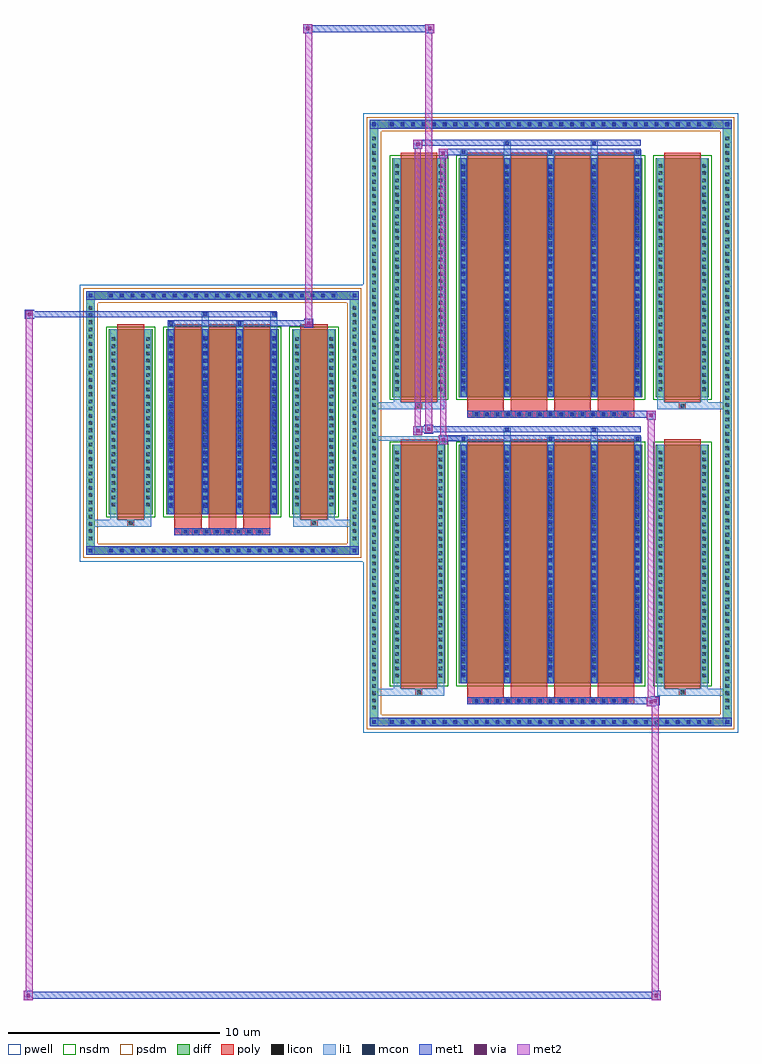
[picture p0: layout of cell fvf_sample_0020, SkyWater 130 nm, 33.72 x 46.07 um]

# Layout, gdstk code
import gdstk
lib = gdstk.Library(unit=1e-6, precision=1e-09)
def R(c, l, rs):  # rectangles x0, y0, x1, y1
    for r in rs: c.add(gdstk.rectangle(r[:2], r[2:], *l))
def A(c, l, x, y, w, h, nx, ny, dx, dy):  # array of equal rectangles
    R(c, l, [(x+i*dx, y+j*dy, x+i*dx+w, y+j*dy+h) for i in range(nx) for j in range(ny)])
def P(c, l, *ps):  # polygons
    for p in ps: c.add(gdstk.Polygon(p, *l))
pwell = (64, 44)
diff = (65, 20)
poly = (66, 20)
licon = (66, 44)
li1 = (67, 20)
mcon = (67, 44)
met1 = (68, 20)
via = (68, 44)
met2 = (69, 20)
nsdm = (93, 44)
psdm = (94, 20)

fvf_sample_0020 = lib.new_cell('fvf_sample_0020')
R(fvf_sample_0020, pwell, [(6.641,-14.621,24.343,14.621), (-6.741,-6.536,6.741,6.536)])
A(fvf_sample_0020, diff, 7.787, -14.311, 0.41, 0.41, 31, 2, 0.5, 28.212)
A(fvf_sample_0020, diff, 6.951, -13.635, 0.41, 0.41, 1, 80, 0, 0.34)
A(fvf_sample_0020, diff, 23.623, -13.635, 0.41, 0.41, 1, 80, 0, 0.34)
A(fvf_sample_0020, diff, -5.455, -6.226, 0.41, 0.41, 22, 2, 0.5, 12.042)
A(fvf_sample_0020, diff, -6.431, -5.645, 0.41, 0.41, 1, 33, 0, 0.34)
A(fvf_sample_0020, diff, 6.021, -5.645, 0.41, 0.41, 1, 33, 0, 0.34)
R(fvf_sample_0020, diff, [(7.787,-14.311,23.197,-13.901), (6.951,-13.635,7.361,13.635), (23.623,-13.635,24.033,13.635), (8.021,-12.29,10.523,-1.014), (11.163,-12.29,19.821,-1.014), (20.461,-12.29,22.963,-1.014), (-5.455,-6.226,5.455,-5.816), (-6.431,-5.645,-6.021,5.645), (6.021,-5.645,6.431,5.645), (-5.36,-4.305,-3.292,4.421), (-2.652,-4.305,2.652,4.421), (3.292,-4.305,5.36,4.421), (8.021,1.23,10.523,12.506), (11.163,1.23,19.821,12.506), (20.461,1.23,22.963,12.506), (-5.455,5.816,5.455,6.226), (7.787,13.901,23.197,14.311)])
P(fvf_sample_0020, diff, [(6.431,6.226),(-6.431,6.226),(-6.431,-5.816),(-6.021,-5.816),(-6.021,5.816),(6.021,5.816),(6.021,-5.816),(-6.021,-5.816),(-6.431,-5.816),(-6.431,-6.226),(6.431,-6.226)],
  [(24.033,14.311),(6.951,14.311),(6.951,-13.901),(7.361,-13.901),(7.361,13.901),(23.623,13.901),(23.623,-13.901),(7.361,-13.901),(6.951,-13.901),(6.951,-14.311),(24.033,-14.311)])
A(fvf_sample_0020, poly, 11.827, -13.27, 0.33, 0.33, 15, 2, 0.5, 13.52)
A(fvf_sample_0020, poly, 11.553, -12.94, 1.722, 0.4, 4, 2, 2.052, 13.52)
A(fvf_sample_0020, poly, 11.553, -12.54, 1.722, 11.776, 4, 2, 2.052, 13.52)
A(fvf_sample_0020, poly, -1.915, -5.286, 0.33, 0.33, 8, 1, 0.5, 0)
A(fvf_sample_0020, poly, -2.262, -4.956, 1.288, 0.401, 3, 1, 1.618, 0)
A(fvf_sample_0020, poly, -2.262, -4.555, 1.288, 9.226, 3, 1, 1.618, 0)
R(fvf_sample_0020, poly, [(11.553,-13.27,19.431,-12.94), (9.107,-12.87,9.437,-12.54), (9.107,-12.87,9.437,-12.54), (21.547,-12.87,21.877,-12.54), (21.547,-12.87,21.877,-12.54), (8.411,-12.54,10.133,-0.764), (20.851,-12.54,22.573,-0.764), (-2.262,-5.286,2.262,-4.956), (-4.491,-4.885,-4.161,-4.555), (-4.491,-4.885,-4.161,-4.555), (4.161,-4.885,4.491,-4.555), (4.161,-4.885,4.491,-4.555), (-4.97,-4.555,-3.682,4.671), (3.682,-4.555,4.97,4.671), (11.553,0.25,19.431,0.58), (9.107,0.65,9.437,0.98), (9.107,0.65,9.437,0.98), (21.547,0.65,21.877,0.98), (21.547,0.65,21.877,0.98), (8.411,0.98,10.133,12.756), (20.851,0.98,22.573,12.756)])
A(fvf_sample_0020, licon, 7.907, -14.191, 0.17, 0.17, 31, 2, 0.5, 28.212)
A(fvf_sample_0020, licon, 7.071, -13.515, 0.17, 0.17, 1, 80, 0, 0.34)
A(fvf_sample_0020, licon, 23.743, -13.515, 0.17, 0.17, 1, 80, 0, 0.34)
A(fvf_sample_0020, licon, 11.907, -13.19, 0.17, 0.17, 15, 2, 0.5, 13.52)
A(fvf_sample_0020, licon, 8.161, -12.007, 0.17, 0.17, 1, 32, 0, 0.34)
A(fvf_sample_0020, licon, 10.213, -12.007, 0.17, 0.17, 1, 32, 0, 0.34)
A(fvf_sample_0020, licon, 11.303, -12.007, 0.17, 0.17, 5, 32, 2.052, 0.34)
A(fvf_sample_0020, licon, 20.601, -12.007, 0.17, 0.17, 1, 32, 0, 0.34)
A(fvf_sample_0020, licon, 22.653, -12.007, 0.17, 0.17, 1, 32, 0, 0.34)
A(fvf_sample_0020, licon, -5.335, -6.106, 0.17, 0.17, 22, 2, 0.5, 12.042)
A(fvf_sample_0020, licon, -6.311, -5.525, 0.17, 0.17, 1, 33, 0, 0.34)
A(fvf_sample_0020, licon, 6.141, -5.525, 0.17, 0.17, 1, 33, 0, 0.34)
A(fvf_sample_0020, licon, -1.835, -5.206, 0.17, 0.17, 8, 1, 0.5, 0)
A(fvf_sample_0020, licon, -5.22, -3.937, 0.17, 0.17, 1, 24, 0, 0.34)
A(fvf_sample_0020, licon, -3.602, -3.937, 0.17, 0.17, 1, 24, 0, 0.34)
A(fvf_sample_0020, licon, -2.512, -3.937, 0.17, 0.17, 4, 24, 1.618, 0.34)
A(fvf_sample_0020, licon, 3.432, -3.937, 0.17, 0.17, 1, 24, 0, 0.34)
A(fvf_sample_0020, licon, 5.05, -3.937, 0.17, 0.17, 1, 24, 0, 0.34)
A(fvf_sample_0020, licon, 8.161, 1.513, 0.17, 0.17, 1, 32, 0, 0.34)
A(fvf_sample_0020, licon, 10.213, 1.513, 0.17, 0.17, 1, 32, 0, 0.34)
A(fvf_sample_0020, licon, 11.303, 1.513, 0.17, 0.17, 5, 32, 2.052, 0.34)
A(fvf_sample_0020, licon, 20.601, 1.513, 0.17, 0.17, 1, 32, 0, 0.34)
A(fvf_sample_0020, licon, 22.653, 1.513, 0.17, 0.17, 1, 32, 0, 0.34)
R(fvf_sample_0020, licon, [(9.187,-12.79,9.357,-12.62), (21.627,-12.79,21.797,-12.62), (-4.411,-4.805,-4.241,-4.635), (4.241,-4.805,4.411,-4.635), (9.187,0.73,9.357,0.9), (21.627,0.73,21.797,0.9)])
A(fvf_sample_0020, li1, 7.827, -14.271, 0.33, 0.33, 31, 2, 0.5, 28.212)
A(fvf_sample_0020, li1, 6.991, -13.595, 0.33, 0.33, 1, 80, 0, 0.34)
A(fvf_sample_0020, li1, 23.663, -13.595, 0.33, 0.33, 1, 80, 0, 0.34)
A(fvf_sample_0020, li1, 11.827, -13.27, 0.33, 0.33, 15, 2, 0.5, 13.52)
A(fvf_sample_0020, li1, 11.223, -12.29, 0.33, 11.276, 5, 2, 2.052, 13.52)
A(fvf_sample_0020, li1, 8.081, -12.087, 0.33, 0.33, 1, 32, 0, 0.34)
A(fvf_sample_0020, li1, 10.133, -12.087, 0.33, 0.33, 1, 32, 0, 0.34)
A(fvf_sample_0020, li1, 11.223, -12.087, 0.33, 0.33, 5, 32, 2.052, 0.34)
A(fvf_sample_0020, li1, 20.521, -12.087, 0.33, 0.33, 1, 32, 0, 0.34)
A(fvf_sample_0020, li1, 22.573, -12.087, 0.33, 0.33, 1, 32, 0, 0.34)
A(fvf_sample_0020, li1, 11.303, -11.957, 0.17, 0.17, 5, 30, 2.052, 0.36)
A(fvf_sample_0020, li1, 11.303, -11.957, 0.17, 10.61, 5, 2, 2.052, 13.52)
A(fvf_sample_0020, li1, -5.415, -6.186, 0.33, 0.33, 22, 2, 0.5, 12.042)
A(fvf_sample_0020, li1, -6.391, -5.605, 0.33, 0.33, 1, 33, 0, 0.34)
A(fvf_sample_0020, li1, 6.061, -5.605, 0.33, 0.33, 1, 33, 0, 0.34)
A(fvf_sample_0020, li1, -1.915, -5.286, 0.33, 0.33, 8, 1, 0.5, 0)
A(fvf_sample_0020, li1, -2.592, -4.305, 0.33, 8.726, 4, 1, 1.618, 0)
A(fvf_sample_0020, li1, -5.3, -4.017, 0.33, 0.33, 1, 24, 0, 0.34)
A(fvf_sample_0020, li1, -3.682, -4.017, 0.33, 0.33, 1, 24, 0, 0.34)
A(fvf_sample_0020, li1, -2.592, -4.017, 0.33, 0.33, 4, 24, 1.618, 0.34)
A(fvf_sample_0020, li1, 3.352, -4.017, 0.33, 0.33, 1, 24, 0, 0.34)
A(fvf_sample_0020, li1, 4.97, -4.017, 0.33, 0.33, 1, 24, 0, 0.34)
A(fvf_sample_0020, li1, -2.512, -3.987, 0.17, 0.17, 4, 23, 1.618, 0.36)
A(fvf_sample_0020, li1, -2.512, -3.987, 0.17, 8.09, 4, 1, 1.618, 0)
A(fvf_sample_0020, li1, 11.223, -1.014, 0.33, 0.375, 3, 2, 4.104, 13.52)
A(fvf_sample_0020, li1, 11.303, -0.809, 0.17, 0.17, 3, 2, 4.104, 13.52)
A(fvf_sample_0020, li1, 8.081, 1.433, 0.33, 0.33, 1, 32, 0, 0.34)
A(fvf_sample_0020, li1, 10.133, 1.433, 0.33, 0.33, 1, 32, 0, 0.34)
A(fvf_sample_0020, li1, 11.223, 1.433, 0.33, 0.33, 5, 32, 2.052, 0.34)
A(fvf_sample_0020, li1, 20.521, 1.433, 0.33, 0.33, 1, 32, 0, 0.34)
A(fvf_sample_0020, li1, 22.573, 1.433, 0.33, 0.33, 1, 32, 0, 0.34)
A(fvf_sample_0020, li1, 11.303, 1.563, 0.17, 0.17, 5, 30, 2.052, 0.36)
R(fvf_sample_0020, li1, [(6.951,-14.311,7.361,-13.901), (23.623,-14.311,24.033,-13.901), (7.827,-14.271,23.157,-13.941), (7.071,-14.191,7.241,-14.021), (7.071,-14.191,7.241,-14.021), (23.743,-14.191,23.913,-14.021), (23.743,-14.191,23.913,-14.021), (6.951,-13.901,7.361,13.901), (23.623,-13.901,24.033,13.901), (6.951,-12.87,9.107,-12.54), (8.081,-12.87,8.411,-12.29), (8.081,-12.87,9.107,-12.54), (9.107,-12.87,9.437,-12.54), (9.437,-12.87,10.463,-12.54), (10.133,-12.87,10.463,-12.29), (20.521,-12.87,20.851,-12.29), (20.521,-12.87,21.547,-12.54), (21.547,-12.87,21.877,-12.54), (21.547,-12.87,24.033,-12.54), (21.877,-12.87,22.903,-12.54), (22.573,-12.87,22.903,-12.29), (8.081,-12.29,8.411,-1.014), (10.133,-12.29,10.463,-1.014), (20.521,-12.29,20.851,-1.014), (22.573,-12.29,22.903,-1.014), (-6.431,-6.226,-6.021,-5.816), (6.021,-6.226,6.431,-5.816), (-5.415,-6.186,5.415,-5.856), (-6.311,-6.106,-6.141,-5.936), (-6.311,-6.106,-6.141,-5.936), (6.141,-6.106,6.311,-5.936), (6.141,-6.106,6.311,-5.936), (-6.431,-5.816,-6.021,5.816), (6.021,-5.816,6.431,5.816), (-6.431,-4.885,-4.491,-4.555), (-5.3,-4.885,-4.491,-4.555), (-5.3,-4.885,-4.97,-4.305), (-4.491,-4.885,-4.161,-4.555), (-4.161,-4.885,-3.352,-4.555), (-3.682,-4.885,-3.352,-4.305), (3.352,-4.885,4.161,-4.555), (3.352,-4.885,3.682,-4.305), (4.161,-4.885,4.491,-4.555), (4.161,-4.885,6.431,-4.555), (4.491,-4.885,5.3,-4.555), (4.97,-4.885,5.3,-4.305), (-5.3,-4.305,-4.97,4.421), (-3.682,-4.305,-3.352,4.421), (3.352,-4.305,3.682,4.421), (4.97,-4.305,5.3,4.421), (13.275,-1.014,13.605,-0.209), (17.379,-1.014,17.709,-0.209), (11.243,-0.869,11.533,-0.579), (6.951,-0.824,11.243,-0.624), (11.303,-0.809,11.473,-0.639), (13.355,-0.379,13.525,-0.209), (17.459,-0.379,17.629,-0.209), (6.951,0.65,9.107,0.98), (8.081,0.65,8.411,1.23), (8.081,0.65,9.107,0.98), (9.107,0.65,9.437,0.98), (9.437,0.65,10.463,0.98), (10.133,0.65,10.463,1.23), (20.521,0.65,20.851,1.23), (20.521,0.65,21.547,0.98), (21.547,0.65,21.877,0.98), (21.547,0.65,24.033,0.98), (21.877,0.65,22.903,0.98), (22.573,0.65,22.903,1.23), (8.081,1.23,8.411,12.506), (10.133,1.23,10.463,12.506), (20.521,1.23,20.851,12.506), (22.573,1.23,22.903,12.506), (-2.592,4.421,-2.262,4.796), (-0.974,4.421,-0.644,5.226), (0.644,4.421,0.974,4.796), (2.262,4.421,2.592,5.226), (-2.512,4.626,-2.342,4.796), (0.724,4.626,0.894,4.796), (-0.894,5.056,-0.724,5.226), (2.342,5.056,2.512,5.226), (-6.431,5.816,-6.021,6.226), (6.021,5.816,6.431,6.226), (-5.415,5.856,5.415,6.186), (-6.311,5.936,-6.141,6.106), (-6.311,5.936,-6.141,6.106), (6.141,5.936,6.311,6.106), (6.141,5.936,6.311,6.106), (13.275,12.506,13.605,13.311), (17.379,12.506,17.709,13.311), (13.355,13.141,13.525,13.311), (17.459,13.141,17.629,13.311), (6.951,13.901,7.361,14.311), (23.623,13.901,24.033,14.311), (7.827,13.941,23.157,14.271), (7.071,14.021,7.241,14.191), (7.071,14.021,7.241,14.191), (23.743,14.021,23.913,14.191), (23.743,14.021,23.913,14.191)])
A(fvf_sample_0020, mcon, 7.907, -14.191, 0.17, 0.17, 31, 2, 0.5, 28.212)
A(fvf_sample_0020, mcon, 11.907, -13.19, 0.17, 0.17, 15, 2, 0.5, 13.52)
A(fvf_sample_0020, mcon, 11.303, -11.957, 0.17, 0.17, 5, 30, 2.052, 0.36)
A(fvf_sample_0020, mcon, -5.335, -6.106, 0.17, 0.17, 22, 2, 0.5, 12.042)
A(fvf_sample_0020, mcon, -1.835, -5.206, 0.17, 0.17, 8, 1, 0.5, 0)
A(fvf_sample_0020, mcon, -2.512, -3.987, 0.17, 0.17, 4, 23, 1.618, 0.36)
A(fvf_sample_0020, mcon, 11.303, -0.809, 0.17, 0.17, 3, 2, 4.104, 13.52)
A(fvf_sample_0020, mcon, 11.303, 1.563, 0.17, 0.17, 5, 30, 2.052, 0.36)
R(fvf_sample_0020, mcon, [(7.071,-14.191,7.241,-14.021), (23.743,-14.191,23.913,-14.021), (-6.311,-6.106,-6.141,-5.936), (6.141,-6.106,6.311,-5.936), (11.303,-0.809,11.473,-0.639), (13.355,-0.379,13.525,-0.209), (17.459,-0.379,17.629,-0.209), (-2.512,4.626,-2.342,4.796), (0.724,4.626,0.894,4.796), (-0.894,5.056,-0.724,5.226), (2.342,5.056,2.512,5.226), (-6.311,5.936,-6.141,6.106), (6.141,5.936,6.311,6.106), (13.355,13.141,13.525,13.311), (17.459,13.141,17.629,13.311), (7.071,14.021,7.241,14.191), (23.743,14.021,23.913,14.191)])
A(fvf_sample_0020, met1, 7.847, -14.251, 0.29, 0.29, 31, 2, 0.5, 28.212)
A(fvf_sample_0020, met1, 11.847, -13.25, 0.29, 0.29, 15, 2, 0.5, 13.52)
A(fvf_sample_0020, met1, 11.243, -12.29, 0.29, 11.276, 5, 2, 2.052, 13.52)
A(fvf_sample_0020, met1, 11.243, -12.017, 0.29, 0.29, 5, 30, 2.052, 0.36)
A(fvf_sample_0020, met1, -5.395, -6.166, 0.29, 0.29, 22, 2, 0.5, 12.042)
A(fvf_sample_0020, met1, -1.895, -5.266, 0.29, 0.29, 8, 1, 0.5, 0)
A(fvf_sample_0020, met1, -2.572, -4.305, 0.29, 8.726, 4, 1, 1.618, 0)
A(fvf_sample_0020, met1, -2.572, -4.047, 0.29, 0.29, 4, 23, 1.618, 0.36)
A(fvf_sample_0020, met1, 11.243, -0.869, 0.29, 0.29, 3, 2, 4.104, 13.52)
A(fvf_sample_0020, met1, 11.243, 1.503, 0.29, 0.29, 5, 30, 2.052, 0.36)
R(fvf_sample_0020, met1, [(-9.373,-27.231,-8.943,-26.801), (20.266,-27.231,20.696,-26.801), (-9.373,-27.181,20.696,-26.851), (-9.373,-26.851,-8.943,-26.801), (20.266,-26.851,20.696,-26.801), (6.951,-14.311,7.361,-13.901), (6.951,-14.311,7.361,-13.901), (7.361,-14.311,23.623,-13.901), (23.623,-14.311,24.033,-13.901), (23.623,-14.311,24.033,-13.901), (7.011,-14.251,7.301,-13.961), (23.683,-14.251,23.973,-13.961), (20.031,-13.37,20.461,-12.94), (20.216,-13.32,20.646,-12.89), (11.553,-13.27,19.431,-12.94), (19.431,-13.27,20.216,-12.94), (19.431,-13.27,20.461,-12.94), (-6.431,-6.226,-6.021,-5.816), (-6.431,-6.226,-6.021,-5.816), (-6.021,-6.226,6.021,-5.816), (6.021,-6.226,6.431,-5.816), (6.021,-6.226,6.431,-5.816), (-6.371,-6.166,-6.081,-5.876), (6.081,-6.166,6.371,-5.876), (-2.262,-5.286,2.262,-4.956), (10.213,-1.009,10.643,-0.579), (10.213,-0.869,11.243,-0.579), (11.243,-0.869,11.533,-0.579), (11.243,-0.869,19.741,-0.579), (9.013,-0.579,9.443,-0.149), (9.528,-0.509,9.958,-0.079), (9.013,-0.439,11.243,-0.149), (9.958,-0.439,11.243,-0.149), (11.243,-0.439,19.741,-0.149), (13.295,-0.439,13.585,-0.149), (17.399,-0.439,17.689,-0.149), (20.031,0.15,20.461,0.58), (11.553,0.25,19.431,0.58), (19.431,0.25,20.461,0.58), (3.857,4.496,4.287,4.926), (-2.572,4.566,-2.282,4.856), (-2.572,4.566,2.572,4.856), (0.664,4.566,0.954,4.856), (2.572,4.566,3.857,4.856), (-9.323,4.926,-8.893,5.356), (-8.893,4.996,-2.572,5.286), (-2.572,4.996,2.572,5.286), (-0.954,4.996,-0.664,5.286), (2.282,4.996,2.572,5.286), (-6.431,5.816,-6.021,6.226), (-6.431,5.816,-6.021,6.226), (-6.021,5.816,6.021,6.226), (6.021,5.816,6.431,6.226), (6.021,5.816,6.431,6.226), (-6.371,5.876,-6.081,6.166), (6.081,5.876,6.371,6.166), (10.213,12.511,10.643,12.941), (10.213,12.651,11.243,12.941), (11.243,12.651,19.741,12.941), (9.013,12.941,9.443,13.371), (9.013,13.081,11.243,13.371), (11.243,13.081,19.741,13.371), (13.295,13.081,13.585,13.371), (17.399,13.081,17.689,13.371), (6.951,13.901,7.361,14.311), (6.951,13.901,7.361,14.311), (7.361,13.901,23.623,14.311), (23.623,13.901,24.033,14.311), (23.623,13.901,24.033,14.311), (7.011,13.961,7.301,14.251), (23.683,13.961,23.973,14.251), (3.807,18.407,4.237,18.837), (9.578,18.407,10.008,18.837), (3.807,18.457,10.008,18.787), (3.807,18.787,4.237,18.837), (9.578,18.787,10.008,18.837)])
R(fvf_sample_0020, via, [(-9.233,-27.091,-9.083,-26.941), (20.406,-27.091,20.556,-26.941), (20.171,-13.23,20.321,-13.08), (20.356,-13.18,20.506,-13.03), (10.353,-0.869,10.503,-0.719), (9.153,-0.439,9.303,-0.289), (9.668,-0.369,9.818,-0.219), (20.171,0.29,20.321,0.44), (3.997,4.636,4.147,4.786), (-9.183,5.066,-9.033,5.216), (10.353,12.651,10.503,12.801), (9.153,13.081,9.303,13.231), (3.947,18.547,4.097,18.697), (9.718,18.547,9.868,18.697)])
R(fvf_sample_0020, met2, [(-9.373,-27.231,-8.943,-26.801), (-9.273,-27.231,-8.943,4.976), (20.266,-27.231,20.696,-26.801), (20.266,-27.231,20.596,-13.27), (-9.323,-27.181,-8.993,-26.851), (20.316,-27.181,20.646,-26.851), (20.031,-13.37,20.461,-12.94), (20.081,-13.37,20.411,0.58), (20.411,-13.37,20.461,-12.94), (20.081,-13.32,20.411,-12.99), (20.266,-13.27,20.596,-12.94), (10.213,-1.009,10.643,-0.579), (10.283,-1.009,10.573,12.941), (10.573,-1.009,10.643,-0.579), (10.263,-0.959,10.593,-0.629), (9.013,-0.579,9.443,-0.149), (9.083,-0.579,9.373,13.371), (9.373,-0.579,9.443,-0.149), (9.063,-0.529,9.393,-0.199), (9.578,-0.459,9.908,-0.129), (9.578,-0.129,9.908,18.837), (20.031,0.15,20.461,0.58), (20.411,0.15,20.461,0.58), (20.081,0.2,20.411,0.53), (3.907,4.546,4.237,4.876), (3.907,4.876,4.237,18.837), (-9.273,4.976,-8.943,5.306), (10.213,12.511,10.643,12.941), (10.573,12.511,10.643,12.941), (10.263,12.561,10.593,12.891), (9.013,12.941,9.443,13.371), (9.373,12.941,9.443,13.371), (9.063,12.991,9.393,13.321), (3.807,18.407,4.237,18.837), (9.578,18.407,10.008,18.837), (3.857,18.457,4.187,18.787), (9.628,18.457,9.958,18.787)])
R(fvf_sample_0020, nsdm, [(7.891,-12.42,10.653,-0.884), (11.033,-12.42,19.951,-0.884), (20.331,-12.42,23.093,-0.884), (-5.49,-4.435,-3.162,4.551), (-2.782,-4.435,2.782,4.551), (3.162,-4.435,5.49,4.551), (7.891,1.1,10.653,12.636), (11.033,1.1,19.951,12.636), (20.331,1.1,23.093,12.636)])
P(fvf_sample_0020, psdm, [(6.561,6.356),(-6.561,6.356),(-6.561,-5.686),(-5.891,-5.686),(-5.891,5.686),(5.891,5.686),(5.891,-5.686),(-5.891,-5.686),(-6.561,-5.686),(-6.561,-6.356),(6.561,-6.356)],
  [(24.163,14.441),(6.821,14.441),(6.821,-13.771),(7.491,-13.771),(7.491,13.771),(23.493,13.771),(23.493,-13.771),(7.491,-13.771),(6.821,-13.771),(6.821,-14.441),(24.163,-14.441)])

lib.write_gds('fvf_sample_0020.gds')
